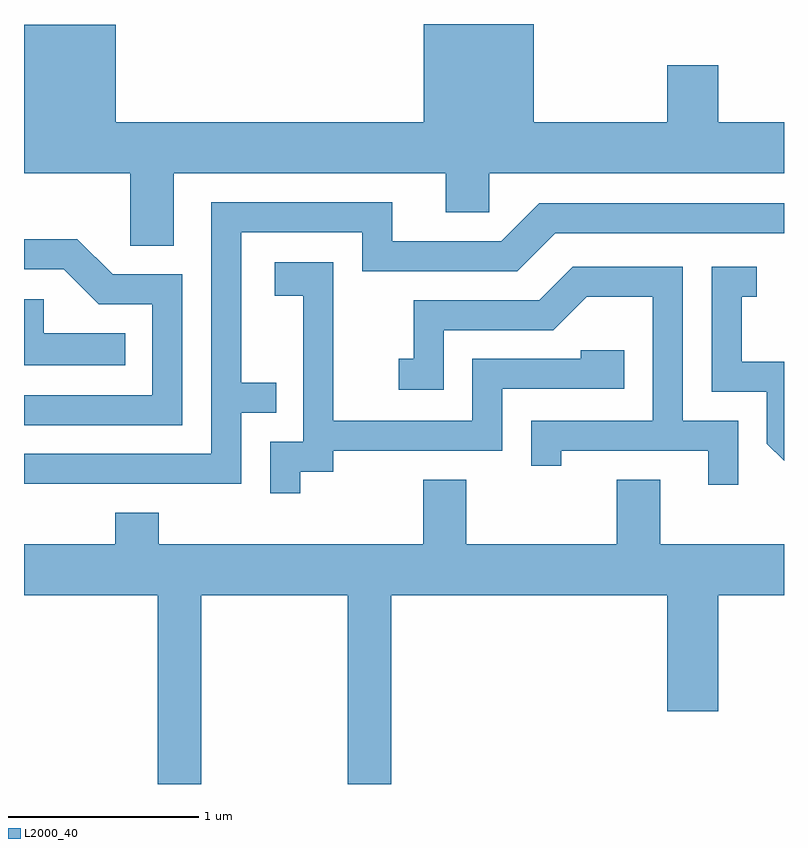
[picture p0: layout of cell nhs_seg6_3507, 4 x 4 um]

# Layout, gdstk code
import gdstk
lib = gdstk.Library(unit=1e-6, precision=1e-09)
def P(c, l, *ps):  # polygons
    for p in ps: c.add(gdstk.Polygon(p, *l))
L2000_40 = (2000, 40)

nhs_seg6_3507 = lib.new_cell('nhs_seg6_3507')
P(nhs_seg6_3507, L2000_40, [(292.399,1543.376),(293.831,1543.376),(293.831,1543.171),(294.059,1543.171),(294.059,1543.376),(295.611,1543.376),(295.611,1543.644),(295.264,1543.644),(295.264,1543.944),(294.996,1543.944),(294.996,1543.644),(294.294,1543.644),(294.294,1544.162),(293.716,1544.162),(293.716,1543.644),(292.094,1543.644),(292.094,1544.159),(291.611,1544.159),(291.611,1543.376),(292.171,1543.376),(292.171,1542.996),(292.399,1542.996)],
  [(292.754,1542.116),(292.938,1542.116),(292.938,1542.274),(292.754,1542.274),(292.754,1543.066),(293.391,1543.066),(293.391,1542.861),(294.207,1542.861),(294.407,1543.061),(295.611,1543.061),(295.611,1543.219),(294.324,1543.219),(294.124,1543.019),(293.549,1543.019),(293.549,1543.224),(292.596,1543.224),(292.596,1541.899),(291.611,1541.899),(291.611,1541.741),(292.754,1541.741)],
  [(292.444,1542.844),(292.077,1542.844),(291.892,1543.029),(291.611,1543.029),(291.611,1542.871),(291.819,1542.871),(292.004,1542.686),(292.286,1542.686),(292.286,1542.209),(291.611,1542.209),(291.611,1542.051),(292.444,1542.051)],
  [(293.064,1541.806),(293.239,1541.806),(293.239,1541.916),(294.129,1541.916),(294.129,1542.241),(294.769,1542.241),(294.769,1542.444),(294.541,1542.444),(294.541,1542.399),(293.971,1542.399),(293.971,1542.074),(293.239,1542.074),(293.239,1542.909),(292.931,1542.909),(292.931,1542.731),(293.081,1542.731),(293.081,1541.964),(292.906,1541.964),(292.906,1541.693),(293.064,1541.693)],
  [(295.611,1542.384),(295.389,1542.384),(295.389,1542.726),(295.468,1542.726),(295.468,1542.884),(295.231,1542.884),(295.231,1542.226),(295.521,1542.226),(295.521,1541.954),(295.611,1541.864)],
  [(295.369,1542.074),(295.079,1542.074),(295.079,1542.884),(294.499,1542.884),(294.324,1542.709),(293.661,1542.709),(293.661,1542.399),(293.583,1542.399),(293.583,1542.236),(293.819,1542.236),(293.819,1542.551),(294.397,1542.551),(294.572,1542.726),(294.921,1542.726),(294.921,1542.074),(294.281,1542.074),(294.281,1541.838),(294.439,1541.838),(294.439,1541.916),(295.211,1541.916),(295.211,1541.738),(295.369,1541.738)],
  [(292.143,1542.534),(291.714,1542.534),(291.714,1542.714),(291.611,1542.714),(291.611,1542.366),(292.143,1542.366)],
  [(294.996,1540.546),(295.264,1540.546),(295.264,1541.156),(295.611,1541.156),(295.611,1541.424),(294.959,1541.424),(294.959,1541.764),(294.731,1541.764),(294.731,1541.424),(293.939,1541.424),(293.939,1541.764),(293.711,1541.764),(293.711,1541.424),(292.319,1541.424),(292.319,1541.589),(292.091,1541.589),(292.091,1541.424),(291.611,1541.424),(291.611,1541.156),(292.316,1541.156),(292.316,1540.162),(292.544,1540.162),(292.544,1541.156),(293.316,1541.156),(293.316,1540.162),(293.544,1540.162),(293.544,1541.156),(294.996,1541.156)])

lib.write_gds('nhs_seg6_3507.gds')
